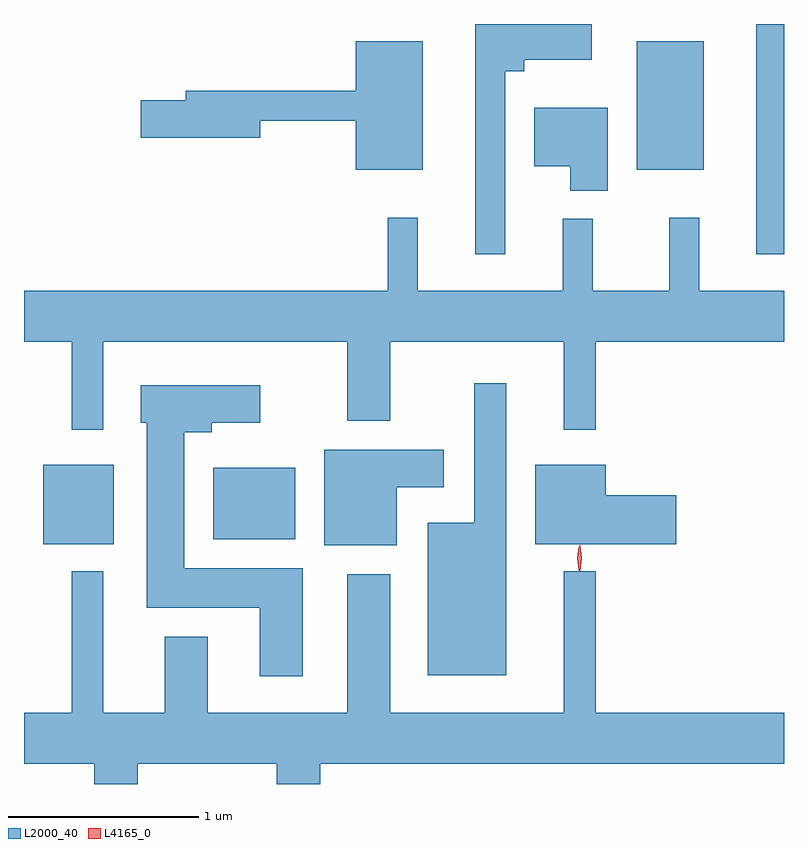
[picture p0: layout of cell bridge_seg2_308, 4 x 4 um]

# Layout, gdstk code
import gdstk
lib = gdstk.Library(unit=1e-6, precision=1e-09)
def R(c, l, rs):  # rectangles x0, y0, x1, y1
    for r in rs: c.add(gdstk.rectangle(r[:2], r[2:], *l))
def P(c, l, *ps):  # polygons
    for p in ps: c.add(gdstk.Polygon(p, *l))
L2000_40 = (2000, 40)
L4165_0 = (4165, 0)

bridge_seg2_308 = lib.new_cell('bridge_seg2_308')
R(bridge_seg2_308, L2000_40, [(439.711,1067.231,440.084,1067.649), (440.606,1067.256,441.039,1067.634), (443.466,1068.758,443.611,1069.969), (442.836,1069.201,443.189,1069.879)])
P(bridge_seg2_308, L2000_40, [(442.144,1069.721),(442.244,1069.721),(442.244,1069.781),(442.599,1069.781),(442.599,1069.969),(441.986,1069.969),(441.986,1068.758),(442.144,1068.758)],
  [(441.709,1069.879),(441.356,1069.879),(441.356,1069.619),(440.461,1069.619),(440.461,1069.569),(440.226,1069.569),(440.226,1069.371),(440.854,1069.371),(440.854,1069.461),(441.356,1069.461),(441.356,1069.201),(441.709,1069.201)],
  [(442.684,1069.529),(442.296,1069.529),(442.296,1069.221),(442.486,1069.221),(442.486,1069.091),(442.684,1069.091)],
  [(440.029,1068.296),(441.311,1068.296),(441.311,1067.881),(441.539,1067.881),(441.539,1068.296),(442.451,1068.296),(442.451,1067.833),(442.619,1067.833),(442.619,1068.296),(443.611,1068.296),(443.611,1068.564),(443.164,1068.564),(443.164,1068.948),(443.006,1068.948),(443.006,1068.564),(442.604,1068.564),(442.604,1068.943),(442.446,1068.943),(442.446,1068.564),(441.684,1068.564),(441.684,1068.948),(441.526,1068.948),(441.526,1068.564),(439.611,1068.564),(439.611,1068.296),(439.861,1068.296),(439.861,1067.833),(440.029,1067.833)],
  [(442.149,1068.078),(441.981,1068.078),(441.981,1067.344),(441.736,1067.344),(441.736,1066.541),(442.149,1066.541)],
  [(441.079,1067.104),(440.454,1067.104),(440.454,1067.821),(440.599,1067.821),(440.599,1067.871),(440.854,1067.871),(440.854,1068.069),(440.226,1068.069),(440.226,1067.871),(440.256,1067.871),(440.256,1066.896),(440.851,1066.896),(440.851,1066.536),(441.079,1066.536)],
  [(441.574,1067.531),(441.819,1067.531),(441.819,1067.729),(441.191,1067.729),(441.191,1067.226),(441.574,1067.226)],
  [(443.044,1067.489),(442.674,1067.489),(442.674,1067.649),(442.301,1067.649),(442.301,1067.231),(443.044,1067.231)],
  [(440.209,1066.076),(440.941,1066.076),(440.941,1065.969),(441.169,1065.969),(441.169,1066.076),(443.611,1066.076),(443.611,1066.344),(442.619,1066.344),(442.619,1067.088),(442.451,1067.088),(442.451,1066.344),(441.539,1066.344),(441.539,1067.074),(441.311,1067.074),(441.311,1066.344),(440.579,1066.344),(440.579,1066.744),(440.351,1066.744),(440.351,1066.344),(440.029,1066.344),(440.029,1067.088),(439.861,1067.088),(439.861,1066.344),(439.611,1066.344),(439.611,1066.076),(439.981,1066.076),(439.981,1065.969),(440.209,1065.969)])
P(bridge_seg2_308, L4165_0, [(442.537,1067.09),(442.528,1067.158),(442.537,1067.226),(442.538,1067.226),(442.538,1067.226),(442.547,1067.158),(442.538,1067.09),(442.538,1067.09)],
  [(442.532,1067.093),(442.532,1067.093),(442.522,1067.156),(442.531,1067.219),(442.532,1067.22),(442.532,1067.219),(442.542,1067.156),(442.533,1067.093)])

lib.write_gds('bridge_seg2_308.gds')
